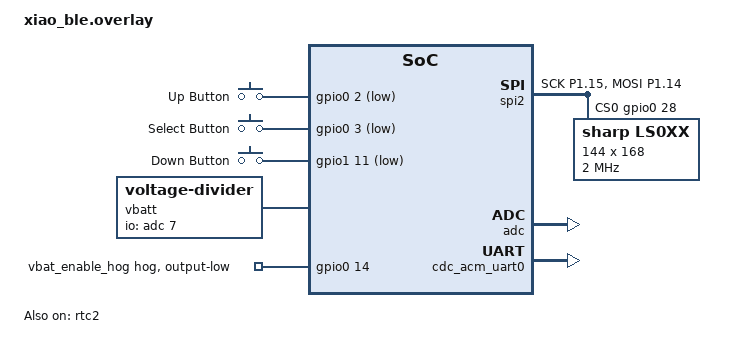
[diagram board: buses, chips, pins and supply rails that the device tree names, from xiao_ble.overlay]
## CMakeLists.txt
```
cmake_minimum_required(VERSION 3.20.0)
find_package(Zephyr REQUIRED HINTS $ENV{ZEPHYR_BASE})

project(MIPU)

target_sources(app PRIVATE
    src/main.c
    src/app.c
    src/battery.c
    src/inversion.c
    src/gui.c
)
```

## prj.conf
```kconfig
# ==========================================
# gestion de energia, creo que lo hace automaticamente
# ==========================================
CONFIG_PM_DEVICE=y
CONFIG_SYS_CLOCK_EXISTS=y

# ==========================================
# PERIFÉRICOS
# ==========================================
CONFIG_NRFX_GPPI=y
CONFIG_NRFX_RTC=y
CONFIG_GPIO=y
CONFIG_SPI=y
CONFIG_ADC=y
CONFIG_GPIO_HOGS=y

# ==========================================
# BLUETOOTH Y SINCRONIZACIÓN DE HORA (CTS)
# ==========================================
CONFIG_BT=y
CONFIG_BT_PERIPHERAL=y
CONFIG_BT_CTS_CLIENT=y        #habilita el cliente del Current Time Service 
CONFIG_BT_ANCS_CLIENT=y
CONFIG_BT_AMS_CLIENT=y
CONFIG_BT_GATT_CLIENT=y
CONFIG_BT_GATT_DM=y

# ==========================================
# SEGURIDAD BLUETOOTH Y GUARDADO DE EMPAREJAMIENTO (Vital para ANCS)
# ==========================================
CONFIG_BT_SMP=y                 # Security Manager Protocol (Para poder emparejar)
CONFIG_BT_SETTINGS=y            # Permite guardar los emparejamientos
CONFIG_FLASH=y                  # Activa la memoria Flash
CONFIG_NVS=y                    # Non-Volatile Storage (Sistema de archivos ligero)
CONFIG_SETTINGS=y               # Subsistema de configuraciones de Zephyr


#aumento la memoria max de los mensajes
CONFIG_BT_L2CAP_TX_MTU=247
CONFIG_BT_BUF_ACL_RX_SIZE=251
CONFIG_BT_BUF_ACL_TX_SIZE=251

#mayores retrasos para mejor bateria
CONFIG_BT_GAP_PERIPHERAL_PREF_PARAMS=y
# 480 ms
CONFIG_BT_PERIPHERAL_PREF_MIN_INT=400
# 500 ms
CONFIG_BT_PERIPHERAL_PREF_MAX_INT=400
# 3 ciclos (1.5 segundos efectivos)
CONFIG_BT_PERIPHERAL_PREF_LATENCY=4
# 5.5 segundos. Cumple: 5.5s > (1.5s * 3), necesario para apple
CONFIG_BT_PERIPHERAL_PREF_TIMEOUT=800  

# ==========================================
# GESTIÓN DE FECHA Y HORA
# ==========================================
# CONFIG_DATE_TIME=y
# CONFIG_DATE_TIME_NTP=n

# ==========================================
# SISTEMA DE PANTALLA Y LVGL (monocromatico)
# ==========================================
CONFIG_DISPLAY=y
CONFIG_LVGL=y
CONFIG_LV_COLOR_DEPTH_1=y
CONFIG_LV_Z_VDB_SIZE=100
CONFIG_LV_Z_FULL_REFRESH=y #refresco todo porque ocupa poco, quizas es hasta peor ir por cachos solo (no estoy seguro)
CONFIG_LV_Z_MEM_POOL_SIZE=8192

#para que haya un hilo de LVGL independiente
#CONFIG_LV_Z_K_THREAD
#CONFIG_LV_Z_K_THREAD_PRIO


# ==========================================
# depuracion (envolver en #ifdef cuando lo desactive)
# ==========================================
# Sistema de Logging
CONFIG_LOG=y
CONFIG_LOG_MODE_DEFERRED=y #para que se guarde en buffer y no se pierda nada, confio en que no pete demasiado
#CONFIG_LOG_MODE_IMMEDIATE=y #para que sea inmediato y no se quede en buffer

#habilitar consola serie
CONFIG_SERIAL=y         # controla UART y eso, poner a n en produccion
CONFIG_CONSOLE=y
CONFIG_UART_CONSOLE=y
CONFIG_UART_LINE_CTRL=y

#activar usb y cdc acm
CONFIG_USB_DEVICE_STACK_NEXT=y
CONFIG_USBD_CDC_ACM_CLASS=y
```

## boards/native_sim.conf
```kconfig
# Disable hardware-specific systems
CONFIG_BT=n
CONFIG_ADC=n
CONFIG_USB_DEVICE_STACK_NEXT=n
CONFIG_USBD_CDC_ACM_CLASS=n

# Enable SDL Display for LVGL UI testing
CONFIG_DISPLAY=y
CONFIG_SDL_DISPLAY=y
CONFIG_LV_Z_FLUSH_THREAD=y

# Standard UART console so your keyboard polling works in the terminal
CONFIG_CONSOLE=y
CONFIG_UART_CONSOLE=y
```

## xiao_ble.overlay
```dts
/ {

    chosen {
        zephyr,display = &ls0xx;
	    zephyr,console = &cdc_acm_uart0;
        zephyr,shell-uart = &cdc_acm_uart0;
    };

    aliases {
        sw0 = &button0;
        sw1 = &button1;
        sw2 = &button2;
    };

    buttons {
        compatible = "gpio-keys";
        button0: button_0 {
            gpios = <&gpio0 2 (GPIO_PULL_UP | GPIO_ACTIVE_LOW)>;
            label = "Up Button";
        };
        button1: button_1 {
            gpios = <&gpio0 3 (GPIO_PULL_UP | GPIO_ACTIVE_LOW)>;
            label = "Select Button";
        };
        button2: button_2 {
            gpios = <&gpio1 11 (GPIO_PULL_UP | GPIO_ACTIVE_LOW)>;
            label = "Down Button";
        };
    };

    vbatt: vbatt {
	compatible = "voltage-divider";
	io-channels = <&adc 7>;
	output-ohms = <510000>; //r2 (que es 510k)
	full-ohms = <1510000>; //r1 (que es 1M) + r2
	// power-gpios = <&gpio0 14 GPIO_ACTIVE_LOW>;
    //     power-on-sample-delay-us = <16>; //TODO: REVISAR SI ES DEMASIADO POCO
    };
};

&gpio0 {
    vbat_enable_hog {
        gpio-hog;
        gpios = <14 GPIO_ACTIVE_HIGH>;
        output-low;
    };
};

&pinctrl {
    spi2_default: spi2_default {
        group1 {
            psels = <NRF_PSEL(SPIM_SCK, 1, 15)>,
                    <NRF_PSEL(SPIM_MOSI, 1, 14)>;
        };
    };

    spi2_sleep: spi2_sleep {
        group1 {
            psels = <NRF_PSEL(SPIM_SCK, 1, 15)>,
                    <NRF_PSEL(SPIM_MOSI, 1, 14)>;
            low-power-enable;
        };
    };
};

&spi2 {
    status = "okay";

    //para que no  gasten cuando sleep
    pinctrl-0 = <&spi2_default>;
    pinctrl-1 = <&spi2_sleep>;
    pinctrl-names = "default", "sleep";

    cs-gpios = <&gpio0 28 GPIO_ACTIVE_HIGH>; //chip select

    ls0xx: ls0xx@0 {
        compatible = "sharp,ls0xx";
        reg = <0>;
        spi-max-frequency = <2000000>;
        width = <144>;
        height = <168>;
        spi-cs-high;

        //para inversion por hardware (pero despertando cpu para invertir) y software
        // extcomin-gpios = <&gpio1 12 GPIO_ACTIVE_HIGH>; // Pin to toggle VCOM to prevent DC bias
        // extcomin-frequency = <60>;
        // serial-vcom-inversion;
        // serial-vcom-interval = <1000>;
    };
};

&rtc2 {
    status = "okay";
};

&adc {
    status = "okay";
};

&zephyr_udc0 {
    cdc_acm_uart0: cdc_acm_uart0 {
        compatible = "zephyr,cdc-acm-uart";
    };
};

&uart0 {
    status = "disabled";
};
```

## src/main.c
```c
#include <zephyr/kernel.h>
#include <zephyr/logging/log.h>
#include <lvgl.h>
#include <zephyr/drivers/uart.h>

#include "app.h"
#include "battery.h"
#include "inversion.h"
#include "gui.h"

LOG_MODULE_REGISTER(main, LOG_LEVEL_INF);

static struct app_state app;
static const struct device *const console_uart = DEVICE_DT_GET(DT_CHOSEN(zephyr_console));

#ifndef CONFIG_BOARD_NATIVE_SIM
#include <zephyr/usb/usbd.h>
// ... Keep your USBD_DEVICE_DEFINE and USB descriptions here ...
#endif

#ifdef CONFIG_BT
#include <zephyr/bluetooth/bluetooth.h>
#include <zephyr/bluetooth/conn.h>
#include <zephyr/bluetooth/uuid.h>
#include <zephyr/bluetooth/gatt.h>
#include <bluetooth/gatt_dm.h>
#include <bluetooth/services/cts_client.h>
#include <zephyr/settings/settings.h>


#define DEVICE_NAME "MIPU Watch"
#define DEVICE_NAME_LEN (sizeof(DEVICE_NAME) - 1)

// Perfil rápido
// Intervalo: 30ms a 45ms. Latencia: 0. Timeout: 4 segundos.
#define BT_LE_CONN_PARAM_FAST BT_LE_CONN_PARAM(0x0018, 0x0024, 0, 400)

// Perfil lento
// Intervalo: 480ms a 500ms. Latencia: 4 (efectivo 2.5s). Timeout: 8 segundos.
#define BT_LE_CONN_PARAM_SLOW BT_LE_CONN_PARAM(0x0180, 0x0190, 4, 800)

//pa la uart creo
USBD_DEVICE_DEFINE(my_usbd, DEVICE_DT_GET(DT_NODELABEL(zephyr_udc0)), 0x1234, 0x5678);
USBD_CONFIGURATION_DEFINE(my_config, USB_SCD_SELF_POWERED, 100, NULL);
USBD_DESC_LANG_DEFINE(lang_desc);
USBD_DESC_MANUFACTURER_DEFINE(mfg_desc, "Seeed");
USBD_DESC_PRODUCT_DEFINE(product_desc, "XIAO BLE Console");

static struct bt_conn *default_conn = NULL;

static struct bt_cts_client cts_client;

static struct k_work_delayable start_advertising_work;




//BLUETOOTH TIME SYNC
//TODO: poner que todos los dias se sincronice. si falla no pasa nada porque hay que hacer que al conectarse pida la hora       
// Esta función se ejecuta automáticamente cuando el móvil responde con la hora
static void cts_time_cb(struct bt_cts_client *cts, struct bt_cts_current_time *current_time, int err);
static void request_time_sync(void);

static const struct bt_data ad[] = {
    BT_DATA_BYTES(BT_DATA_FLAGS, (BT_LE_AD_GENERAL | BT_LE_AD_NO_BREDR)),
    BT_DATA(BT_DATA_NAME_COMPLETE, DEVICE_NAME, DEVICE_NAME_LEN),
};

void app_set_connection_speed(bool fast_mode){
    if (!default_conn) {
        return; 
    }

    int err;
    if (fast_mode) {
        err = bt_conn_le_param_update(default_conn, BT_LE_CONN_PARAM_FAST);
    } else {
        err = bt_conn_le_param_update(default_conn, BT_LE_CONN_PARAM_SLOW);
    }

    if (err) {
        LOG_WRN("Error requesting bluetooth parameter update: %d", err);
    } else {
        LOG_INF("Bluetooth parameter update request sent: %s", fast_mode ? "FAST" : "SLOW");
    }
}

//tries to restart advertising every 5 seconds until it succeeds. It does not block the main thread
void bt_le_adv_start_until_success(struct k_work *work){
    int err = bt_le_adv_start(BT_LE_ADV_CONN_FAST_2, ad, ARRAY_SIZE(ad), NULL, 0);

    if (err == -EALREADY) {
        LOG_INF("Advertising is already running. Stopping retries.");
        return;
    }


    if (err) {
        LOG_ERR("Error restarting advertising. Trying again in 5s (err %d)", err);
        k_work_schedule(&start_advertising_work, K_SECONDS(5));
    } else {
        LOG_INF("Advertising restarted. Waiting for reconnection...");
    }
}


// // Variables globales para el proceso de búsqueda
// static struct bt_gatt_discover_params discover_params;
// static struct bt_uuid_16 uuid = BT_UUID_INIT_16(0);

// // 2. Callback: Zephyr nos llama cuando el móvil responde
// static uint8_t discover_func(struct bt_conn *conn,
//                              const struct bt_gatt_attr *attr,
//                              struct bt_gatt_discover_params *params)
// {
//     if (!attr) {
//         LOG_INF("GATT Discovery completado.");
        
//         // ¡El reloj ya no está ciego! Ahora sí pedimos la hora.
//         request_time_sync();
        
//         // Limpiamos los parámetros para futuros usos
//         memset(params, 0, sizeof(*params));
//         return BT_GATT_ITER_STOP;
//     }

//     LOG_INF("Encontrado servicio en el handle %u", attr->handle);
//     return BT_GATT_ITER_CONTINUE;
// }

// // 1. Función para iniciar la búsqueda
// static void start_gatt_discovery(struct bt_conn *conn)
// {
//     int err;

//     // Configuramos la búsqueda para el servicio CTS (UUID 0x1805)
//     memcpy(&uuid, BT_UUID_CTS, sizeof(uuid));
    
//     discover_params.uuid = &uuid.uuid;
//     discover_params.func = discover_func;
//     discover_params.start_handle = BT_ATT_FIRST_ATTRIBUTE_HANDLE;
//     discover_params.end_handle = BT_ATT_LAST_ATTRIBUTE_HANDLE;
//     discover_params.type = BT_GATT_DISCOVER_PRIMARY; // Buscamos servicios principales

//     err = bt_gatt_discover(conn, &discover_params);
//     if (err) {
//         LOG_ERR("Fallo al iniciar Discovery (err %d)", err);
//     } else {
//         LOG_INF("Iniciando GATT Discovery para CTS...");
//     }
// }


static void discovery_completed(struct bt_gatt_dm *dm, void *context)
{
    LOG_INF("CTS service discovered");

    // Vinculamos lo que ha encontrado el DM con nuestro cliente CTS
    bt_cts_handles_assign(dm, &cts_client);
    

    request_time_sync();


    //libero la memoria del Discovery Manager
    bt_gatt_dm_data_release(dm);
}

// Se ejecuta si el movil no tiene el servicio de hora
static void discovery_service_not_found(struct bt_conn *conn, void *context)
{
    LOG_WRN("Device connected does not expose CTS service.");
}

// Se ejecuta si hubo un error de conexión durante la búsqueda
static void discovery_error(struct bt_conn *conn, int err, void *context)
{
    LOG_ERR("Error during GATT Discovery (err %d)", err);
}

// Estructura que agrupa los callbacks del GATT DM
static const struct bt_gatt_dm_cb discovery_cb = {
    .completed = discovery_completed,
    .service_not_found = discovery_service_not_found,
    .error_found = discovery_error,
};

/* ========================================================
 * CALLBACKS DE SEGURIDAD (PAIRING)
 * ======================================================== */
static void pairing_complete(struct bt_conn *conn, bool bonded)
{
    LOG_INF("Pairing complete. Saved in Flash: %s", 
            bonded ? "Yes" : "No");
}

static void pairing_failed(struct bt_conn *conn, enum bt_security_err reason)
{
    LOG_WRN("Pairing failed or canceled. (Reason: %d)", reason);
}

// Estructura que registra nuestras funciones de información de seguridad
static struct bt_conn_auth_info_cb auth_info_callbacks = {
    .pairing_complete = pairing_complete,
    .pairing_failed = pairing_failed,
};


//CALLBACK de seguridad cambiada
static void security_changed(struct bt_conn *conn, bt_security_t level, enum bt_security_err err)
{
    if (!err && level >= BT_SECURITY_L2) {
        LOG_INF("Security set (level %d). Discovering CTS...", level);
        
        //Arranco el discovery manager de nordic para buscar servicios
        int discover_err = bt_gatt_dm_start(conn, BT_UUID_CTS, &discovery_cb, NULL);
        if (discover_err) {
            LOG_ERR("Error initializing GATT DM: %d", discover_err);
        }
    } else {
        LOG_WRN("Failed to increase security: %d", err);
    }
}


static void connected(struct bt_conn *conn, uint8_t err)
{
    if (err) {
        LOG_ERR("BT LE connection error: (err %u)", err);
        return;
    }

    //rechazo nuevas conexiones si ya hay una activa
    if (default_conn != NULL) {
        LOG_WRN("A device is already connected. New connection rejected.");
        bt_conn_disconnect(conn, BT_HCI_ERR_REMOTE_USER_TERM_CONN);
        return;
    }

    LOG_INF("PHONE CONNECTED!");
    
    // Guardamos la conexión para usarla luego y sumamos 1 a su contador de uso
    default_conn = bt_conn_ref(conn);
    app_set_bt_ready(&app, true);
    
    //Se solicita nivel 2 de seguridad (just works, sin autenticacion)
    //si ya nos conoce el movil (en flash), lo hara automaticamente
    int sec_err = bt_conn_set_security(conn, BT_SECURITY_L2);
    if (sec_err) {
        LOG_WRN("Security petition failed (err %d)", sec_err);
    }
}

static void disconnected(struct bt_conn *conn, uint8_t reason)
{
    LOG_INF("Phone disconnected (reason: %u)", reason);

    if (default_conn == conn) {
        // Liberamos la memoria de la conexión
        bt_conn_unref(default_conn);
        default_conn = NULL;
        app_set_bt_ready(&app, false);
    } else {
        LOG_INF("A rejected or unknown connection just disconnected. Ignoring.");
    }
}

//en esta funcion para asegurar que se ha destruido la conexion del todo
static void recycled(void){
    LOG_INF("Connection object memory freed. Safe to restart advertising.");

    //volvemos a anunciarmos
    k_work_schedule(&start_advertising_work, K_NO_WAIT);

}

// Esta macro de Zephyr registra los callbacks automáticamente en el sistema
BT_CONN_CB_DEFINE(conn_callbacks) = {
    .connected = connected,
    .disconnected = disconnected,
    .security_changed = security_changed,
    .recycled = recycled,
};


static void request_time_sync(void)
{
    int err;

    app_request_sync(&app);
    err = bt_cts_read_current_time(&cts_client, cts_time_cb);
    if (err < 0) {
        LOG_WRN("CTS read request failed: %d", err);
    }
}

static void cts_time_cb(struct bt_cts_client *cts,
                        struct bt_cts_current_time *current_time,
                        int err){
    (void)cts;

    app_set_time_from_cts(&app, current_time, err);
    if (err == 0) {
        LOG_INF("Time sync complete with CTS");
    } else {
        LOG_WRN("CTS callback error: %d", err);
    }
}

static int bluetooth_start(void)
{
    //activo escucha eventos seguridad (pairing)
    bt_conn_auth_info_cb_register(&auth_info_callbacks);

    int err = bt_enable(NULL);
    if (err) {
        return err;
    }

    //Cargar emparejamientos de la flash (TODO: revisar que esto aqui bien)
    if (IS_ENABLED(CONFIG_SETTINGS)) {
        settings_load();
        LOG_INF("Settings loaded from flash.");
    }

    LOG_INF("Bluetooth initialized.");

    bt_cts_client_init(&cts_client);

    //advertising
    k_work_init_delayable(&start_advertising_work, bt_le_adv_start_until_success);
    k_work_schedule(&start_advertising_work, K_NO_WAIT);

    LOG_INF("Advertising started as '%s'.", DEVICE_NAME);
    return 0;
}

#endif

#ifndef CONFIG_BOARD_NATIVE_SIM
static int usb_console_start(void)
{
    int err;

    err = usbd_add_descriptor(&my_usbd, &lang_desc);
    err |= usbd_add_descriptor(&my_usbd, &mfg_desc);
    err |= usbd_add_descriptor(&my_usbd, &product_desc);

    err |= usbd_add_configuration(&my_usbd, USBD_SPEED_FS, &my_config);
    err |= usbd_register_class(&my_usbd, "cdc_acm_0", USBD_SPEED_FS, 1);    

    if (err) {
        return err;
    }
    

    err = usbd_init(&my_usbd);
    if (err) {
        return err;
    }

    err = usbd_enable(&my_usbd);
    if (err) {
        return err;
    }

    return 0;
}
#endif

// SIMULACION DE BOTONES CON TECLADO
static enum app_button_event key_to_event(char key, bool *valid)
{
    *valid = true;

    switch (key) {
    case '1':
        return APP_BTN_PREV_SHORT;
    case '2':
        return APP_BTN_OK_SHORT;
    case '3':
        return APP_BTN_NEXT_SHORT;
    case 'Q':
    case 'q':
        return APP_BTN_PREV_LONG;
    case 'W':
    case 'w':
        return APP_BTN_OK_LONG;
    case 'E':
    case 'e':
        return APP_BTN_NEXT_LONG;
    default:
        *valid = false;
        return APP_BTN_OK_SHORT;
    }
}

int main(void)
{
    int err;
    //inicializar y habilitar el stack USB 
    //TODO: quizas poner alante y hacer algo para que se espere todo a que se haya inicializado
    if (!device_is_ready(console_uart)) {
        //LOG_ERR("Console UART not ready"); esto no lo loggeara si no esta listo igualmente
        return 0;
    }

    #ifndef CONFIG_BOARD_NATIVE_SIM
    err = usb_console_start();
    if (err) {
        LOG_ERR("USB init failed: %d", err);
        return err;
    }

    //ESTE BUCLE ROMPE EL RELOJ SI NO ESTA CONECTADO A PC
    // Wait for DTR (Data Terminal Ready) from the host PC
    // This means a serial monitor program has connected to the port. 
    uint32_t dtr = 0;
    while (!dtr) {
        uart_line_ctrl_get(console_uart, UART_LINE_CTRL_DTR, &dtr);
        k_sleep(K_MSEC(100));
    }

    LOG_INF("USB init succesful. PC connected\n");
    #endif

    init_hardware_vcom();
    
    app_init(&app);

    #ifdef CONFIG_BT
    err = bluetooth_start();
    if (err) {
        LOG_WRN("Bluetooth init failed: %d", err);
    }
    #else
    LOG_INF("Simulator mode: Bluetooth disabled.");
    #endif
    
    battery_init(&app);
    
    gui_init(&app, menu_items, menu_length);

    //a futuro esto seria un sleep forever y gestionaria por interrupcion.
    //TODO: quizas hacer cola de eventos y actualizar ahi la pantalla (para evitar condiciones de carrera o algo)
    while (1) {
        uint8_t raw;
        char key;
        bool valid;

        while (uart_poll_in(console_uart, &raw) == 0) {
            key = (char)raw;

            if (key == '\r' || key == '\n') {
                continue;
            }

            enum app_button_event event = key_to_event(key, &valid);
            if (!valid) {
                continue;
            }

            enum app_action action = app_handle_button(&app, event);

            if (action == APP_ACTION_SYNC_NOW) {
                #ifdef CONFIG_BT
                request_time_sync();
                #else
                LOG_INF("Simulator: Time sync requested, but BT is disabled.");
                #endif
            }
            //MAS ACCIONES...
        }
        //Esto lo hare en interrupciones 
        //PERO NO EN INTERRUPCIONES, informare que se puede actualizar (con semaforo o algo) pero en la ISR no pondre el update en si
        //puedo usar k_sem_take(&ui_update_sem, K_MINUTES(1)); y k_sem_give(&ui_update_sem);
        //Aunque quizas me gusta mas un timer periodico de 1 min (quizas sirve timer Y lo de k_minutes...)
        gui_update();
        lv_task_handler();
        k_sleep(K_MSEC(20));
    }
    return 0;
}
```

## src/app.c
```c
#include "app.h"

//#include <date_time.h>
#include <stdio.h>
#include <string.h>

#include <zephyr/kernel.h>
#include <zephyr/sys/timeutil.h>
#include <zephyr/logging/log.h>

LOG_MODULE_REGISTER(app, LOG_LEVEL_INF);

#define CONFIG_ENABLE_TERMINAL_UI 0

static const char *screen_name(enum app_screen screen)
{
    switch (screen) {
    case APP_SCREEN_HOME:
        return "HOME";
    case APP_SCREEN_MENU:
        return "MENU";
    case APP_SCREEN_SETTINGS:
        return "SETTINGS";
    case APP_SCREEN_ABOUT:
        return "ABOUT";
    default:
        return "UNKNOWN";
    }
}

const char *const menu_items[] = {
    "Home",
    "Sync Time",
    "Settings",
    "About",
};

const size_t menu_length = sizeof(menu_items) / sizeof(menu_items[0]);

void app_init(struct app_state *state)
{
    memset(state, 0, sizeof(*state));
    state->screen = APP_SCREEN_HOME;
    state->menu_index = 0;
    state->battery_percent = 100;
}

void app_set_bt_ready(struct app_state *state, bool ready)
{
    state->bt_ready = ready;
}

void app_set_battery_percent(struct app_state *state, int percent)
{
    state->battery_percent = percent;
}

void app_request_sync(struct app_state *state)
{
    state->sync_in_progress = true;
}


#ifdef CONFIG_BT
#include <bluetooth/services/cts_client.h>
void app_set_time_from_cts(struct app_state *state,
                           const struct bt_cts_current_time *current_time,
                           int err)
{
    if (err != 0 || current_time == NULL) {
        state->sync_in_progress = false;
        state->last_sync_ok = false;
        return;
    }

    struct tm tm = {
        .tm_year = (int)current_time->exact_time_256.year - 1900,
        .tm_mon = (int)current_time->exact_time_256.month - 1,
        .tm_mday = (int)current_time->exact_time_256.day,
        .tm_hour = (int)current_time->exact_time_256.hours,
        .tm_min = (int)current_time->exact_time_256.minutes,
        .tm_sec = (int)current_time->exact_time_256.seconds,
        .tm_isdst = -1,
    };

    int64_t unix_s = timeutil_timegm64(&tm);
    if (unix_s < 0) {
        state->sync_in_progress = false;
        state->last_sync_ok = false;
        return;
    }

    int64_t frac_ms = ((int64_t)current_time->exact_time_256.fractions256 * 1000) / 256;

    //bloqueo porque son 64 bits, podria ser interrumpido a mitad de variable
    k_spinlock_key_t key = k_spin_lock(&state->lock);
    state->clock.base_epoch_ms = (unix_s * 1000) + frac_ms;
    state->clock.base_uptime_ms = k_uptime_get();
    state->clock.valid = true;
    k_spin_unlock(&state->lock, key);

    state->sync_in_progress = false;
    state->last_sync_ok = true;

    //(void)date_time_set(&tm);
}
#endif

bool app_get_current_tm(const struct app_state *state, struct tm *out)
{
    if (!state->clock.valid || out == NULL) {
        return false;
    }

    //bloqueo porque son 64 bits, podria ser interrumpido a mitad de variable
    k_spinlock_key_t key = k_spin_lock((struct k_spinlock *)&state->lock);
    int64_t now_ms = state->clock.base_epoch_ms + (k_uptime_get() - state->clock.base_uptime_ms);
    k_spin_unlock((struct k_spinlock *)&state->lock, key);

    time_t now_s = (time_t)(now_ms / 1000);

    return gmtime_r(&now_s, out) != NULL;
}

enum app_action app_handle_button(struct app_state *state, enum app_button_event event)
{
    enum app_action action = APP_ACTION_NONE;
    enum app_screen old_screen = state->screen;

    switch (state->screen) {
    case APP_SCREEN_HOME:
        if (event == APP_BTN_PREV_SHORT) {
            state->screen = APP_SCREEN_MENU;
        } else if (event == APP_BTN_OK_SHORT) {
            state->screen = APP_SCREEN_MENU; //temporal ya lo cambiare
        } else if (event == APP_BTN_NEXT_SHORT) {
            state->screen = APP_SCREEN_SETTINGS;
        } else if (event == APP_BTN_OK_LONG) { //si pulsacion larga, sincronizo
            action = APP_ACTION_SYNC_NOW;
        }
        break;

    case APP_SCREEN_MENU:
        if (event == APP_BTN_PREV_SHORT) {
            state->menu_index = (state->menu_index + menu_length - 1) % menu_length;
        } else if (event == APP_BTN_NEXT_SHORT) {
            state->menu_index = (state->menu_index + 1) % menu_length;
        } else if (event == APP_BTN_OK_SHORT) {
            switch (state->menu_index) {
            case 0:
                state->screen = APP_SCREEN_HOME;
                break;
            case 1:
                action = APP_ACTION_SYNC_NOW;
                break;
            case 2:
                state->screen = APP_SCREEN_SETTINGS;
                break;
            case 3:
                state->screen = APP_SCREEN_ABOUT;
                break;
            }
        } else if (event == APP_BTN_OK_LONG) {
            state->screen = APP_SCREEN_HOME;
        }
        break;

    case APP_SCREEN_SETTINGS:
        if (event == APP_BTN_OK_SHORT || event == APP_BTN_PREV_SHORT || event == APP_BTN_NEXT_SHORT) {
           // state->screen = APP_SCREEN_HOME;
           //no hace nada por ahora
        } else if (event == APP_BTN_OK_LONG) {
            state->screen = APP_SCREEN_HOME;
        }
        break;

    case APP_SCREEN_ABOUT:
        if (event == APP_BTN_OK_SHORT || event == APP_BTN_PREV_SHORT || event == APP_BTN_NEXT_SHORT) {
            //state->screen = APP_SCREEN_HOME;
            //no hace nada por ahora
        } else if (event == APP_BTN_OK_LONG) {
            state->screen = APP_SCREEN_HOME;
        }
        break;
    }

    LOG_INF("Nueva pantalla: %d", state->screen);
    if (action != APP_ACTION_NONE) {
        LOG_INF("Accion tomada: %d", action);
    } else {
        LOG_INF("No ha habido accion");
    }
    if(old_screen != state->screen && action == APP_ACTION_NONE){
        action = APP_ACTION_SCREEN_CHANGE;
    }
    return action;
}

void app_render(const struct app_state *state)
{
    #if CONFIG_ENABLE_TERMINAL_UI
        struct tm now_tm;
        char time_buf[32];
        const char *sync_text = state->sync_in_progress ? "SYNCING" : (state->last_sync_ok ? "OK" : "NO SYNC");

        printk("\033[2J\033[H");
        printk("==============================\n");
        printk(" MIPU watch prototype\n");
        printk("==============================\n\n");
        printk("Screen : %s\n", screen_name(state->screen));
        printk("BT     : %s\n", state->bt_ready ? "READY" : "OFF");
        printk("Clock  : %s\n", sync_text);
        printk("Battery: %d%%\n\n", state->battery_percent);

        if (app_get_current_tm(state, &now_tm)) {
            snprintf(time_buf, sizeof(time_buf), "%04d-%02d-%02d %02d:%02d:%02d",
                    now_tm.tm_year + 1900,
                    now_tm.tm_mon + 1,
                    now_tm.tm_mday,
                    now_tm.tm_hour,
                    now_tm.tm_min,
                    now_tm.tm_sec);
            printk("Time   : %s UTC\n\n", time_buf);
        } else {
            printk("Time   : --:--:--\n\n");
        }

        if (state->screen == APP_SCREEN_MENU) {
            printk("Menu:\n");
            for (int i = 0; i < menu_length; ++i) {
                printk("%c %s\n", (i == state->menu_index) ? '>' : ' ', menu_items[i]);
            }
            printk("\n");
        } else if (state->screen == APP_SCREEN_SETTINGS) {
            printk("Settings:\n");
            printk("- Sync hora\n");
            printk("- Battery placeholder\n");
            printk("- Future display settings\n\n");
        } else if (state->screen == APP_SCREEN_ABOUT) {
            printk("About:\n");
            printk("- Zephyr smartwatch prototype\n");
            printk("- Sharp Memory LCD planned\n");
            printk("- Buttons simulated with keyboard\n\n");
        }

        printk("Keys: 1 prev | 2 ok | 3 next | Q/W/E long press\n");
    #else
        LOG_INF("Screen: %s | BT: %d | Batt: %d%%", 
            screen_name(state->screen), 
            state->bt_ready, 
            state->battery_percent);
    #endif
}
```

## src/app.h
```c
#ifndef APP_H
#define APP_H

#include <zephyr/spinlock.h>
#include <stdbool.h>
#include <stdint.h>
#include <time.h>

#ifdef CONFIG_BT
struct bt_cts_current_time;
#endif

extern const char *const menu_items[];
extern const size_t menu_length; 

enum app_screen {
    APP_SCREEN_HOME = 0,
    APP_SCREEN_MENU,
    APP_SCREEN_SETTINGS,
    APP_SCREEN_ABOUT,
};

enum app_button_event {
    APP_BTN_PREV_SHORT = 0,
    APP_BTN_OK_SHORT,
    APP_BTN_NEXT_SHORT,
    APP_BTN_PREV_LONG,
    APP_BTN_OK_LONG,
    APP_BTN_NEXT_LONG,
};

enum app_action {
    APP_ACTION_NONE = 0,
    APP_ACTION_SYNC_NOW,
    APP_ACTION_SCREEN_CHANGE,
};

struct app_clock_state {
    bool valid;
    int64_t base_epoch_ms;
    int64_t base_uptime_ms;
};

struct app_state {
    struct k_spinlock lock;
    volatile enum app_screen screen;
    volatile int menu_index;
    volatile bool bt_ready;
    volatile bool sync_in_progress;
    volatile bool last_sync_ok;
    volatile int battery_percent;
    struct app_clock_state clock;
};

void app_init(struct app_state *state);
enum app_action app_handle_button(struct app_state *state, enum app_button_event event);
void app_set_bt_ready(struct app_state *state, bool ready);
void app_set_battery_percent(struct app_state *state, int percent);
void app_request_sync(struct app_state *state);

#ifdef CONFIG_BT
void app_set_time_from_cts(struct app_state *state,
                           const struct bt_cts_current_time *current_time,
                           int err);
#endif

bool app_get_current_tm(const struct app_state *state, struct tm *out);
void app_render(const struct app_state *state);

#endif
```

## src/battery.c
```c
#include "battery.h"
#include <zephyr/kernel.h>
//#include <zephyr/drivers/gpio.h>
#include <zephyr/logging/log.h>

LOG_MODULE_REGISTER(battery, LOG_LEVEL_INF);

static struct app_state *m_app_state;

#ifndef CONFIG_BOARD_NATIVE_SIM
#include <zephyr/drivers/adc.h>

/* Nodos del Device Tree */
#define VBATT_NODE DT_NODELABEL(vbatt)

static const struct adc_dt_spec vbatt_adc = ADC_DT_SPEC_GET(VBATT_NODE);
//static const struct gpio_dt_spec vbatt_power = GPIO_DT_SPEC_GET(VBATT_NODE, power_gpios);

#define FULL_OHMS DT_PROP(VBATT_NODE, full_ohms)
#define OUTPUT_OHMS DT_PROP(VBATT_NODE, output_ohms)
//#define DELAY_US DT_PROP(VBATT_NODE, power_on_sample_delay_us)

//usa una cola de trabajo, por lo que no bloquea y no satura nada.
static struct k_work_delayable battery_work;

//mapeo de voltaje a bateria, habra que ir refinando
static const uint16_t lipo_lut[][2] = {
    {4200, 100},
    {4110, 90},
    {4080, 85},
    {4020, 80},
    {3980, 75},
    {3950, 70},
    {3910, 65},
    {3870, 60},
    {3850, 55},
    {3840, 50},
    {3820, 45},
    {3800, 40},
    {3790, 35},
    {3770, 30},
    {3750, 25},
    {3730, 20},
    {3710, 15},
    {3690, 10},
    {3610, 5},
    {3270, 0}
};

static int mv_to_percent(int mv) {
    if (mv >= 4200) return 100;
    if (mv <= 3270) return 0;

    int lut_size = sizeof(lipo_lut) / sizeof(lipo_lut[0]);

    for (int i = 0; i < lut_size - 1; i++) {
        if (mv <= lipo_lut[i][0] && mv >= lipo_lut[i+1][0]) {
            // Interpolación lineal entre los dos puntos de la tabla
            int mv_diff = lipo_lut[i][0] - lipo_lut[i+1][0];
            int pct_diff = lipo_lut[i][1] - lipo_lut[i+1][1];
            int mv_offset = mv - lipo_lut[i+1][0];

            if(mv_diff == 0) {
                return lipo_lut[i][1]; // Evitar división por cero
            }
            
            return lipo_lut[i+1][1] + ((mv_offset * pct_diff) / mv_diff);
        }
    }
    return 0;
}

    
/* La función que se ejecuta cada 5 minutos en segundo plano */
static void battery_read_handler(struct k_work *work)
{
    int err;
    uint16_t buf;
    struct adc_sequence seq = {
        .buffer = &buf,
        .buffer_size = sizeof(buf),
    };

    adc_sequence_init_dt(&vbatt_adc, &seq);

    // Encendemos el divisor
    // gpio_pin_set_dt(&vbatt_power, 1);
    // k_busy_wait(DELAY_US); // if very long -> split this into two work items or use a dedicated thread

    // Leemos el valor del ADC
    err = adc_read(vbatt_adc.dev, &seq);
    
    // Apagamos el divisor instantáneamente
    //gpio_pin_set_dt(&vbatt_power, 0);

    if (err == 0) {
        int32_t val_mv = buf;
        
        adc_raw_to_millivolts_dt(&vbatt_adc, &val_mv);
        
        int32_t real_mv = (int64_t)val_mv * FULL_OHMS / OUTPUT_OHMS;        

        // Formulita de empotrados (4.2V = 100%, 3.3V = 0%)
        // int percent = (real_mv - 3300) * 100 / (4200 - 3300);
        
        // if (percent > 100) percent = 100;
        // if (percent < 0) percent = 0;

        int percent = mv_to_percent(real_mv);

        // Actualizamos el estado global
        if (m_app_state) {
            app_set_battery_percent(m_app_state, percent);
        }
        
        LOG_INF("Battery level: %d%% (%d mV)", percent, real_mv);
    } else {
        LOG_ERR("Error reading ADC: %d", err);
    }

    // Reprogramar para dentro de 5 minutos
    k_work_reschedule(&battery_work, K_MINUTES(5));
}

/* Función de inicialización expuesta al main */
void battery_init(struct app_state *state)
{
    m_app_state = state;

    // if (!gpio_is_ready_dt(&vbatt_power)) {
    //     LOG_ERR("Pin power_gpios isn't ready");
    //     return;
    // }
    // gpio_pin_configure_dt(&vbatt_power, GPIO_OUTPUT_INACTIVE);

    if (!adc_is_ready_dt(&vbatt_adc)) {
        LOG_ERR("ADC isn't ready");
        return;
    }
    adc_channel_setup_dt(&vbatt_adc);

    // Inicializamos el trabajo y lanzamos la primera lectura ya mismo
    k_work_init_delayable(&battery_work, battery_read_handler);
    k_work_schedule(&battery_work, K_NO_WAIT);
    
    LOG_INF("Battery module initialized.");
}

#else
void battery_init(struct app_state *state)
{
    m_app_state = state;
    app_set_battery_percent(m_app_state, 85);
    LOG_INF("Simulated battery initialized.");
}
#endif
```

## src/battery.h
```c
#ifndef BATTERY_H
#define BATTERY_H

#include "app.h"

/**
 * @brief Inicializa el ADC, los pines de la batería y lanza la primera lectura.
 * 
 * @param state Puntero al estado global de la app para actualizar el porcentaje.
 */
void battery_init(struct app_state *state);

#endif /* BATTERY_H */
```

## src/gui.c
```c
#include "gui.h"
#include <lvgl.h>
#include <stdio.h>
#include <zephyr/logging/log.h>

LOG_MODULE_REGISTER(gui, LOG_LEVEL_INF);

#define WHITE_COLOR 0xFFFFFF
#define BLACK_COLOR 0x000000

#define MAX_MENU_ITEMS 10 // Límite seguro para inicializar arrays

static int last_drawn_batt = -1;
static bool last_drawn_bt = false;
static int last_drawn_minute = -1;
static int last_drawn_menu_index = -1;

/* Puntero al estado global de la app (guardado en el init) */
static const struct app_state *app_state;

/* Punteros a las pantallas */
static lv_obj_t *screen_home;
static lv_obj_t *screen_menu;
static lv_obj_t *screen_settings;
static lv_obj_t *screen_about;

/* Elementos de HOME*/
static lv_obj_t *status_batt_label;
static lv_obj_t *status_bt_label;
static lv_obj_t *home_time_label;
static lv_obj_t *home_date_label;

static const char * const * menu_items_text; // Puntero a la lista de strings del menu

static size_t num_menu_items;

static lv_obj_t *menu_items_containers[MAX_MENU_ITEMS];
static lv_obj_t *menu_items_labels[MAX_MENU_ITEMS];

/* Estado actual renderizado */
static enum app_screen current_active_screen = APP_SCREEN_HOME;

/* Estilos globales y reutilizables */
static lv_style_t style_screen;
static lv_style_t style_text_normal;
static lv_style_t style_normal;    // Fondo blanco, texto negro
static lv_style_t style_inverted;  // Fondo negro, texto blanco

static void init_styles(void){
	// Estilo de las pantallas (fondo blanco sólido para la Sharp MIP)
	lv_style_init(&style_screen);
	lv_style_set_bg_color(&style_screen, lv_color_hex(WHITE_COLOR));
	lv_style_set_bg_opa(&style_screen, LV_OPA_COVER);
	lv_style_set_text_color(&style_screen, lv_color_hex(BLACK_COLOR));

	lv_style_init(&style_text_normal);
	lv_style_set_text_color(&style_text_normal, lv_color_hex(BLACK_COLOR));

	// Estilo Normal
	lv_style_init(&style_normal);
	lv_style_set_bg_color(&style_normal, lv_color_hex(WHITE_COLOR));
	lv_style_set_text_color(&style_normal, lv_color_hex(BLACK_COLOR));
	lv_style_set_radius(&style_normal, 0); // Sin bordes redondeados (para MIP :))
	lv_style_set_border_width(&style_normal, 0);

	// Estilo Invertido
	lv_style_init(&style_inverted);
	lv_style_set_bg_color(&style_inverted, lv_color_hex(BLACK_COLOR)); 
	lv_style_set_text_color(&style_inverted, lv_color_hex(WHITE_COLOR)); 
	lv_style_set_radius(&style_inverted, 0);
	lv_style_set_border_width(&style_inverted, 0);
}

//PANTALLA HOME
static void create_screen_home(void){
	screen_home = lv_obj_create(NULL);
	lv_obj_add_style(screen_home, &style_screen, LV_PART_MAIN);

	// Bluetooth en la esquina superior izquierda
	status_bt_label = lv_label_create(screen_home);
	lv_obj_add_style(status_bt_label, &style_text_normal, LV_PART_MAIN);
	lv_label_set_text(status_bt_label, "--");
	lv_obj_align(status_bt_label, LV_ALIGN_TOP_LEFT, 5, 5);

	// Batería en la esquina superior derecha
	status_batt_label = lv_label_create(screen_home);
	lv_obj_add_style(status_batt_label, &style_text_normal, LV_PART_MAIN);
	lv_label_set_text(status_batt_label, "100%");
	lv_obj_align(status_batt_label, LV_ALIGN_TOP_RIGHT, -5, 5);

	// Reloj central gigante
	home_time_label = lv_label_create(screen_home);
	lv_obj_add_style(home_time_label, &style_text_normal, LV_PART_MAIN);
	lv_label_set_text(home_time_label, "00:00");
	lv_obj_align(home_time_label, LV_ALIGN_CENTER, 0, -10);

	// Fecha debajo
	home_date_label = lv_label_create(screen_home);
	lv_obj_add_style(home_date_label, &style_text_normal, LV_PART_MAIN);
	lv_label_set_text(home_date_label, "AVOCADO DAY");
	lv_obj_align_to(home_date_label, home_time_label, LV_ALIGN_OUT_BOTTOM_MID, 0, 5);
}

//PANTALLA MENU
static void create_screen_menu(void){
    screen_menu = lv_obj_create(NULL);
    lv_obj_add_style(screen_menu, &style_screen, LV_PART_MAIN);

    // Título del menú (fijo en la parte superior)
    lv_obj_t *title = lv_label_create(screen_menu);
    lv_label_set_text(title, "MENU");
    lv_obj_add_style(title, &style_text_normal, LV_PART_MAIN);
    lv_obj_align(title, LV_ALIGN_TOP_MID, 0, 5);

    // Contenedor dedicado para la lista (Maneja el flexbox y el scroll)
    lv_obj_t *list_cont = lv_obj_create(screen_menu);
    lv_obj_set_size(list_cont, lv_pct(100), lv_pct(80)); // Ocupa el 80% inferior
    lv_obj_align(list_cont, LV_ALIGN_BOTTOM_MID, 0, 0);
    
    // Hacemos el contenedor de la lista invisible para que no interfiera con tus estilos
    lv_obj_set_style_bg_opa(list_cont, LV_OPA_TRANSP, LV_PART_MAIN);
    lv_obj_set_style_border_width(list_cont, 0, LV_PART_MAIN);
    lv_obj_set_style_pad_all(list_cont, 0, LV_PART_MAIN);
    lv_obj_set_style_pad_row(list_cont, 4, LV_PART_MAIN); // Espaciado vertical entre botones
    lv_obj_set_style_radius(list_cont, 0, LV_PART_MAIN);

    // Habilitar layout Flex de columna
    lv_obj_set_layout(list_cont, LV_LAYOUT_FLEX);
    lv_obj_set_flex_flow(list_cont, LV_FLEX_FLOW_COLUMN);
    lv_obj_set_flex_align(list_cont, LV_FLEX_ALIGN_START, LV_FLEX_ALIGN_CENTER, LV_FLEX_ALIGN_CENTER);

    // Lista de opciones generada dinámicamente
    for (size_t i = 0; i < num_menu_items; i++) {
        menu_items_containers[i] = lv_obj_create(list_cont);
        
        // Ancho porcentual (92% de la pantalla) y alto dinámico basado en el contenido
        lv_obj_set_size(menu_items_containers[i], lv_pct(92), LV_SIZE_CONTENT); 
        lv_obj_set_style_pad_all(menu_items_containers[i], 4, LV_PART_MAIN); 

        menu_items_labels[i] = lv_label_create(menu_items_containers[i]);
        lv_label_set_text(menu_items_labels[i], menu_items_text[i]);
        lv_obj_align(menu_items_labels[i], LV_ALIGN_CENTER, 0, 0);
        
        // Aplicar estilo normal por defecto
        lv_obj_add_style(menu_items_containers[i], &style_normal, LV_PART_MAIN);
    }
}

//PANTALLA SIMPLE
static void create_screen_simple(lv_obj_t **screen_ptr, const char *title_text){
	*screen_ptr = lv_obj_create(NULL);
	lv_obj_add_style(*screen_ptr, &style_screen, LV_PART_MAIN);

	lv_obj_t *title = lv_label_create(*screen_ptr);
	lv_obj_add_style(title, &style_text_normal, LV_PART_MAIN);
	lv_label_set_text(title, title_text);
	lv_obj_align(title, LV_ALIGN_CENTER, 0, -15);

	lv_obj_t *desc = lv_label_create(*screen_ptr);
	lv_obj_add_style(desc, &style_text_normal, LV_PART_MAIN);
	lv_label_set_text(desc, "[Long Press]\nto exit");
	lv_obj_align(desc, LV_ALIGN_CENTER, 0, 15);
}

/*Inicialización y Lógica de Actualización */
void gui_init(const struct app_state *state, const char *const menu_items[], const size_t menu_items_length){
	LOG_INF("Iniciando GUI para Pantalla MIP monocroma...");

	menu_items_text = menu_items;
	num_menu_items = menu_items_length;

	init_styles();

	create_screen_home();
	create_screen_menu();
	create_screen_simple(&screen_settings, "SETTINGS\n(WIP)");
	create_screen_simple(&screen_about, "ABOUT\nMIP Watch v1");

	// Cargar Home sin animaciones
	lv_scr_load_anim(screen_home, LV_SCR_LOAD_ANIM_NONE, 0, 0, false);

	app_state = state; //lo pongo al final para que gui_update falle hasta que esto haya terminado

	}

	void gui_update(void)
	{
	if (!app_state) return; //porsiaca

	// cambio de pantallas
	if (app_state->screen != current_active_screen) {
		current_active_screen = app_state->screen;
		switch (app_state->screen) {
			case APP_SCREEN_HOME:     lv_scr_load_anim(screen_home, LV_SCR_LOAD_ANIM_NONE, 0, 0, false); break;
			case APP_SCREEN_MENU:     lv_scr_load_anim(screen_menu, LV_SCR_LOAD_ANIM_NONE, 0, 0, false); 
									  last_drawn_menu_index = -1; //para que se redibuje al entrar y haga el scroll. en los otros NO hace falta
									  break;
			case APP_SCREEN_SETTINGS: lv_scr_load_anim(screen_settings, LV_SCR_LOAD_ANIM_NONE, 0, 0, false); break;
			case APP_SCREEN_ABOUT:    lv_scr_load_anim(screen_about, LV_SCR_LOAD_ANIM_NONE, 0, 0, false); break;
		}
	}

	//=========================================
	// Actualizaciones específicas por pantalla
	//=========================================

	//home
	if (current_active_screen == APP_SCREEN_HOME) {
		// Actualizamos estado de Batería y BT solo cuando estamos en Home y solo cuando cambia
        if (app_state->battery_percent != last_drawn_batt) {
            lv_label_set_text_fmt(status_batt_label, "%d%%", app_state->battery_percent);
            last_drawn_batt = app_state->battery_percent;
        }

        if (app_state->bt_ready != last_drawn_bt) {
            lv_label_set_text(status_bt_label, app_state->bt_ready ? "BT" : "--");
            last_drawn_bt = app_state->bt_ready;
        }

		// Actualizamos Hora y Fecha
		struct tm now_tm;
		if (app_get_current_tm(app_state, &now_tm)) {
			if (now_tm.tm_min != last_drawn_minute) {
                lv_label_set_text_fmt(home_time_label, "%02d:%02d", now_tm.tm_hour, now_tm.tm_min);
                lv_label_set_text_fmt(home_date_label, "%02d/%02d/%04d", 
                                    now_tm.tm_mday, now_tm.tm_mon + 1, now_tm.tm_year + 1900);
                last_drawn_minute = now_tm.tm_min;
            }
		} else {
			if(last_drawn_minute != -1) {
				lv_label_set_text(home_time_label, "--:--");
				lv_label_set_text(home_date_label, "AVOCADO DAY");
				last_drawn_minute = -1;
			}
		}
	} 
	//menu
	else if (current_active_screen == APP_SCREEN_MENU) {
		// Actualizamos los estilos para mostrar cuál está seleccionado
		if (app_state->menu_index != last_drawn_menu_index) {
			
			for (size_t i = 0; i < num_menu_items; i++) {
				if (i == app_state->menu_index) {
					lv_obj_add_style(menu_items_containers[i], &style_inverted, LV_PART_MAIN);
					lv_obj_remove_style(menu_items_containers[i], &style_normal, LV_PART_MAIN);

					lv_obj_scroll_to_view(menu_items_containers[i], LV_ANIM_OFF);
				} else {
					lv_obj_add_style(menu_items_containers[i], &style_normal, LV_PART_MAIN);
					lv_obj_remove_style(menu_items_containers[i], &style_inverted, LV_PART_MAIN);
				}
			}
			last_drawn_menu_index = app_state->menu_index;
		}
	}
}
```

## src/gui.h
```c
#ifndef GUI_H
#define GUI_H

#include "app.h"

/**
 * @brief Inicializa la interfaz gráfica de LVGL.
 * @param state Puntero global al estado de la aplicación.
 * La GUI guardará esta referencia para futuras actualizaciones.
 */
void gui_init(const struct app_state *state, const char *const menu_items[], const size_t menu_items_length);

/**
 * @brief Actualiza los elementos visuales basándose en el estado interno guardado.
 * Debe llamarse periódicamente en el bucle principal.
 */
void gui_update(void);

#endif /* GUI_H */
```

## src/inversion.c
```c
#include <zephyr/kernel.h>
#include <zephyr/logging/log.h>

#include <drivers/nrfx_errors.h>
#include <nrfx_rtc.h>
#include <nrfx_gpiote.h>
#include <helpers/nrfx_gppi.h>
#include <hal/nrf_rtc.h>
#include <hal/nrf_gpio.h>

#include "inversion.h"

#ifndef CONFIG_BOARD_NATIVE_SIM


LOG_MODULE_REGISTER(inversion, LOG_LEVEL_INF);

static nrfx_gpiote_t gpiote_instance = NRFX_GPIOTE_INSTANCE(0);
static nrfx_rtc_t rtc2 = NRFX_RTC_INSTANCE(2);

#define EXTCOMIN_PIN NRF_GPIO_PIN_MAP(1, 12) // P1.12 en la Xiao BLE

void init_hardware_vcom(void){
    int err;

    //GPIOTE
    /* Pedimos a Zephyr un canal GPIOTE libre para no pisar la configuración de los botones */
    uint8_t gpiote_channel;
    err = nrfx_gpiote_channel_alloc(&gpiote_instance, &gpiote_channel);
    if (err != NRFX_SUCCESS) {
		LOG_ERR("Error: No GPIOTE channel available.\n");
        return;
    }
	
	/* Configuramos el pin en modo Task para que cambie de estado (Toggle) */
    nrfx_gpiote_output_config_t output_config = {
        .drive = NRF_GPIO_PIN_S0S1,
        .input_connect = NRF_GPIO_PIN_INPUT_DISCONNECT,
        .pull = NRF_GPIO_PIN_NOPULL,
    };

    nrfx_gpiote_task_config_t task_config = {
        .task_ch = gpiote_channel,
        .polarity = NRF_GPIOTE_POLARITY_TOGGLE,
        .init_val = NRF_GPIOTE_INITIAL_VALUE_LOW,
    };

    /* Inicializamos el pin y activamos la tarea */
    err = nrfx_gpiote_output_configure(&gpiote_instance, EXTCOMIN_PIN, &output_config, &task_config);
    if (err != NRFX_SUCCESS) {
        LOG_ERR("Error configuring GPIOTE output pin.\n");
        return;
    }

    nrfx_gpiote_out_task_enable(&gpiote_instance, EXTCOMIN_PIN);


    //RTC
    nrfx_rtc_config_t rtc_config = NRFX_RTC_DEFAULT_CONFIG;
    rtc_config.prescaler = 0; //el preescaler lo dejo asi por ejemplo
    
    err = nrfx_rtc_init(&rtc2, &rtc_config, NULL); //NULL para el handler
    if (err != NRFX_SUCCESS) {
        LOG_ERR("Error initializing RTC2: %d\n", err);
        return;
    }

    /* Configuramos el canal de comparación 0. 
       Valor 32768 = salta cada 1 segundo (1Hz de inversión, suficiente para evitar quemado). 
       El último parámetro 'false' para que no se genere una interrupción por software. */
    nrfx_rtc_cc_set(&rtc2, 0, 32768, false);


    //GPPI
    nrfx_gppi_handle_t ppi_toggle_handle;
    nrfx_gppi_handle_t ppi_clear_handle;


    /* Obtenemos las direcciones de memoria */
    uint32_t rtc_event_addr = nrfx_rtc_event_address_get(&rtc2, NRF_RTC_EVENT_COMPARE_0);
    uint32_t gpiote_task_addr = nrfx_gpiote_out_task_address_get(&gpiote_instance, EXTCOMIN_PIN);
    uint32_t rtc_task_clear_addr = nrfx_rtc_task_address_get(&rtc2, NRF_RTC_TASK_CLEAR);

    // first connect RTC Event -> GPIOTE Toggle Task
    err = nrfx_gppi_conn_alloc(rtc_event_addr, gpiote_task_addr, &ppi_toggle_handle);
    if (err != 0) {
        LOG_ERR("Failed to allocate GPPI toggle connection to GPIOTE\n");
        return;
    }

    // then connect RTC Event -> RTC Clear Task (To loop back to 0)
    err = nrfx_gppi_conn_alloc(rtc_event_addr, rtc_task_clear_addr, &ppi_clear_handle);
    if (err != 0) {
        LOG_ERR("Failed to allocate GPPI clear connection to RTC\n");
        return;
    }

    // Habilitamos las conexiones
    nrfx_gppi_conn_enable(ppi_toggle_handle);
    nrfx_gppi_conn_enable(ppi_clear_handle);
    
    //EMPEZAMOS
    nrfx_rtc_enable(&rtc2);
    
    LOG_INF("Hardware VCOM inversion initialized.\n");
}

#else

void init_hardware_vcom(void) {
    //Dummy que no haga nada
}

#endif
```

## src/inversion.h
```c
#ifndef INVERSION_H
#define INVERSION_H

/**
 * @brief Inicializa los relojes y la configuración de hardware para invertir la polaridad del EXTCOMIN.
 */
void init_hardware_vcom(void);

#endif /* INVERSION_H */
```
